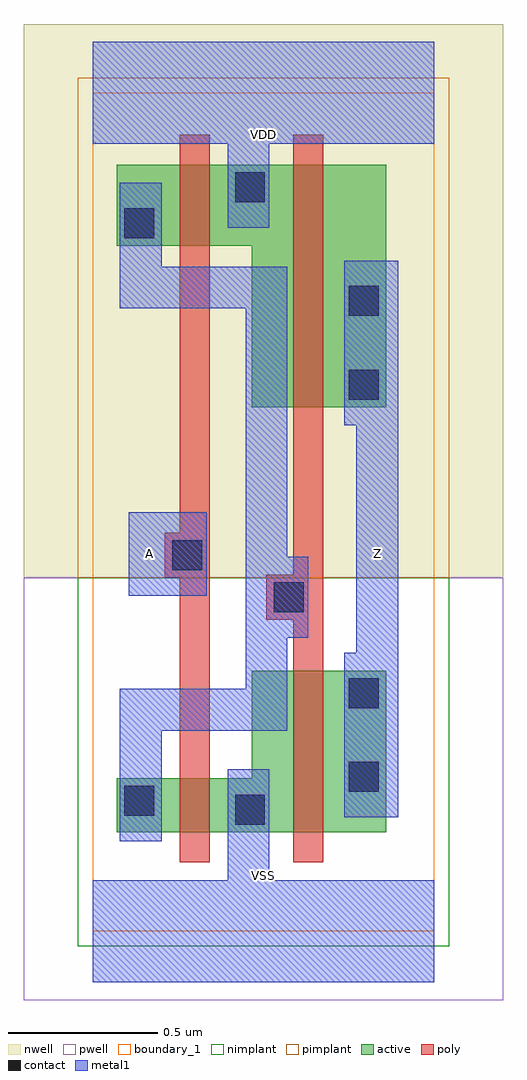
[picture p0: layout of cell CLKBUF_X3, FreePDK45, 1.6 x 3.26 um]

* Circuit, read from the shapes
.subckt CLKBUF_X3 A VDD VSS Z
M1 VSS A n1 VSUBS nfet w=0.18u l=0.1u
M2 Z n1 VSS VSUBS nfet w=0.54u l=0.1u
M3 VDD A n1 n2 pfet w=0.27u l=0.1u
M4 Z n1 VDD n2 pfet w=0.81u l=0.1u
.ends

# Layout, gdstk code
import gdstk
lib = gdstk.Library(unit=1e-6, precision=1e-09)
def R(c, l, rs):  # rectangles x0, y0, x1, y1
    for r in rs: c.add(gdstk.rectangle(r[:2], r[2:], *l))
def P(c, l, *ps):  # polygons
    for p in ps: c.add(gdstk.Polygon(p, *l))
active = (1, 0)
pwell = (2, 0)
nwell = (3, 0)
nimplant = (4, 0)
pimplant = (5, 0)
poly = (9, 0)
contact = (10, 0)
metal1 = (11, 0)
boundary_1 = (235, 1)

clkbuf_x3 = lib.new_cell('CLKBUF_X3')
P(clkbuf_x3, active, [(0.08,2.29),(0.53,2.29),(0.53,1.75),(0.98,1.75),(0.98,2.56),(0.08,2.56)],
  [(0.08,0.33),(0.98,0.33),(0.98,0.87),(0.53,0.87),(0.53,0.51),(0.08,0.51)])
R(clkbuf_x3, pwell, [(-0.23,-0.23,1.37,1.18)])
R(clkbuf_x3, nwell, [(-0.23,1.18,1.37,3.03)])
R(clkbuf_x3, nimplant, [(-0.05,-0.05,1.19,1.18)])
R(clkbuf_x3, pimplant, [(-0.05,1.18,1.19,2.85)])
P(clkbuf_x3, poly, [(0.58,1.04),(0.67,1.04),(0.67,0.23),(0.77,0.23),(0.77,2.66),(0.67,2.66),(0.67,1.19),(0.58,1.19)],
  [(0.24,1.18),(0.29,1.18),(0.29,0.23),(0.39,0.23),(0.39,2.66),(0.29,2.66),(0.29,1.33),(0.24,1.33)])
R(clkbuf_x3, contact, [(0.475,0.355,0.575,0.455), (0.105,0.385,0.205,0.485), (0.855,0.465,0.955,0.565), (0.855,0.745,0.955,0.845), (0.605,1.065,0.705,1.165), (0.265,1.205,0.365,1.305), (0.855,1.775,0.955,1.875), (0.855,2.055,0.955,2.155), (0.105,2.315,0.205,2.415), (0.475,2.435,0.575,2.535)])
R(clkbuf_x3, metal1, [(0.12,1.12,0.38,1.4), (0.12,1.12,0.38,1.4)])
P(clkbuf_x3, metal1, [(0,-0.17),(1.14,-0.17),(1.14,0.17),(0.59,0.17),(0.59,0.54),(0.45,0.54),(0.45,0.17),(0,0.17)],
  [(0,2.63),(0.45,2.63),(0.45,2.35),(0.59,2.35),(0.59,2.63),(1.14,2.63),(1.14,2.97),(0,2.97)],
  [(0.84,1.69),(0.88,1.69),(0.88,0.93),(0.84,0.93),(0.84,0.38),(1.02,0.38),(1.02,2.24),(0.84,2.24)],
  [(0,2.63),(0.45,2.63),(0.45,2.35),(0.59,2.35),(0.59,2.63),(1.14,2.63),(1.14,2.97),(0,2.97)],
  [(0,-0.17),(1.14,-0.17),(1.14,0.17),(0.59,0.17),(0.59,0.54),(0.45,0.54),(0.45,0.17),(0,0.17)],
  [(0.84,1.69),(0.88,1.69),(0.88,0.93),(0.84,0.93),(0.84,0.38),(1.02,0.38),(1.02,2.24),(0.84,2.24)],
  [(0.09,2.08),(0.51,2.08),(0.51,0.81),(0.09,0.81),(0.09,0.3),(0.23,0.3),(0.23,0.67),(0.65,0.67),(0.65,0.98),(0.72,0.98),(0.72,1.25),(0.65,1.25),(0.65,2.22),(0.23,2.22),(0.23,2.5),(0.09,2.5)])
R(clkbuf_x3, boundary_1, [(0,0,1.14,2.8)])
clkbuf_x3.add(gdstk.Label('Z', (0.95,1.26), layer=11, texttype=0))
clkbuf_x3.add(gdstk.Label('VSS', (0.57,0.185), layer=11, texttype=0))
clkbuf_x3.add(gdstk.Label('VDD', (0.57,2.66), layer=11, texttype=0))
clkbuf_x3.add(gdstk.Label('A', (0.19,1.26), layer=11, texttype=0))

lib.write_gds('CLKBUF_X3.gds')
